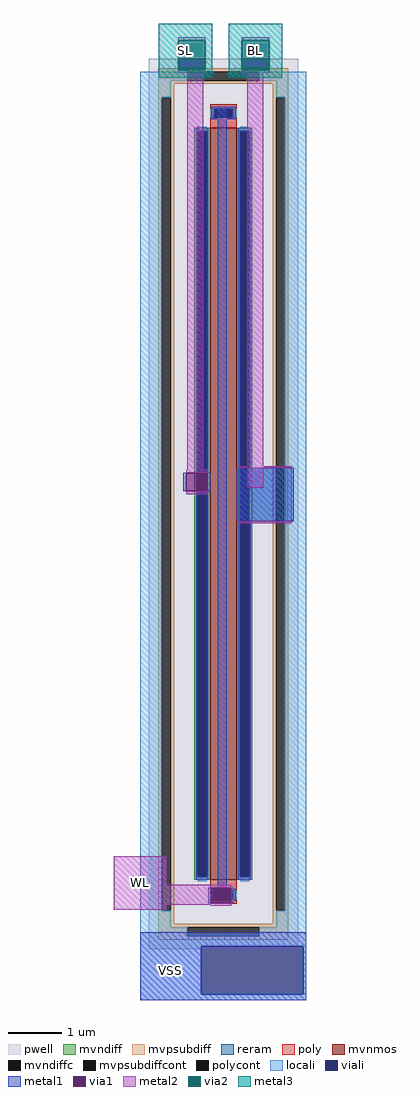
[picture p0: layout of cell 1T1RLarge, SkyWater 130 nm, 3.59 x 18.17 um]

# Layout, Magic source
magic
tech sky130B
magscale 1 2
<< locali >>
rect 116 590 196 3802
rect 654 590 734 3802
rect 116 546 734 590
rect 116 368 342 546
rect 722 368 734 546
rect 116 346 734 368
<< viali >>
rect 342 368 722 546
<< metal1 >>
rect 276 2240 286 2310
rect 366 2240 376 2310
rect 404 764 438 3670
rect 368 706 378 764
rect 454 706 464 764
rect 116 546 734 598
rect 116 368 342 546
rect 722 368 734 546
rect 116 346 734 368
<< via1 >>
rect 286 2240 366 2310
rect 378 706 454 764
<< metal2 >>
rect 256 3920 358 3930
rect 256 3798 358 3808
rect 494 3920 596 3930
rect 494 3798 596 3808
rect 290 2320 350 3798
rect 286 2310 366 2320
rect 514 2254 574 3798
rect 286 2230 366 2240
rect 16 776 216 882
rect 16 774 448 776
rect 16 764 454 774
rect 16 706 378 764
rect 16 700 454 706
rect 16 682 216 700
rect 378 696 454 700
<< via2 >>
rect 256 3808 358 3920
rect 494 3808 596 3920
<< metal3 >>
rect 184 3920 384 3980
rect 184 3808 256 3920
rect 358 3808 384 3920
rect 184 3780 384 3808
rect 444 3920 644 3980
rect 444 3808 494 3920
rect 596 3808 644 3920
rect 444 3780 644 3808
use sky130_fd_pr__nfet_g5v0d10v5_K2FQJB  XM1
transform 1 0 425 0 1 2193
box -278 -1658 278 1658
use sky130_fd_pr_reram__reram_cell  XR1
transform 1 0 480 0 1 2528
box -6 -406 206 -194
<< labels >>
flabel metal1 128 356 328 556 0 FreeSans 256 0 0 0 VSS
port 2 nsew
flabel metal2 16 682 216 882 0 FreeSans 256 0 0 0 WL
port 1 nsew
flabel metal3 444 3780 644 3980 0 FreeSans 256 0 0 0 BL
port 0 nsew
flabel metal3 184 3780 384 3980 0 FreeSans 256 0 0 0 SL
port 3 nsew
<< end >>

# cell sky130_fd_pr__nfet_g5v0d10v5_K2FQJB: kit device sky130_fd_pr__nfet_g5v0d10v5, w 14.0 l 0.5 m 1 nf 1 diffcov 100 polycov 100 guard 1 glc 1 grc 1 gtc 1 gbc 1 tbcov 100 rlcov 100 topc 1 botc 1 poverlap 0 doverlap 1 lmin 0.50 wmin 0.42 compatible {sky130_fd_pr__nfet_01v8 sky130_fd_pr__nfet_01v8_lvt sky130_fd_bs_flash__special_sonosfet_star sky130_fd_pr__nfet_g5v0d10v5 sky130_fd_pr__nfet_05v0_nvt sky130_fd_pr__nfet_03v3_nvt} full_metal 1 viasrc 100 viadrn 100 viagate 100 viagb 0 viagr 0 viagl 0 viagt 0

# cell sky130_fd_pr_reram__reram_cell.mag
magic
tech sky130B
<< metal1 >>
rect -3 -200 103 -100
<< reram >>
rect 0 -200 100 -100
<< metal2 >>
rect 0 -100 100 -97
rect 0 -203 100 -200
<< labels >>
flabel reram 0 -200 100 -100 0 FreeSans 128 0 0 0 TE
port 0 nsew
flabel metal1 0 -200 100 -100 0 FreeSans 128 0 0 0 BE
port 1 nsew
<< end >>
